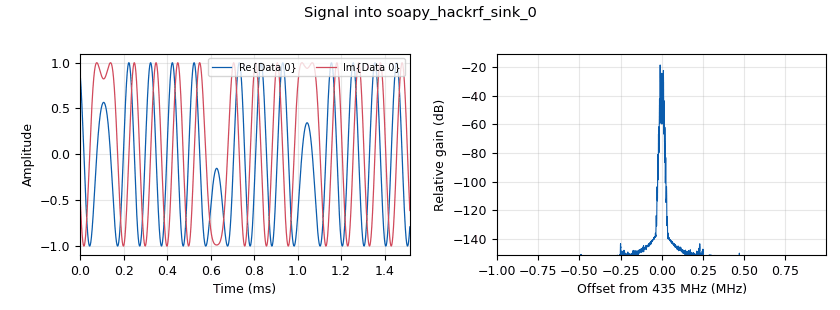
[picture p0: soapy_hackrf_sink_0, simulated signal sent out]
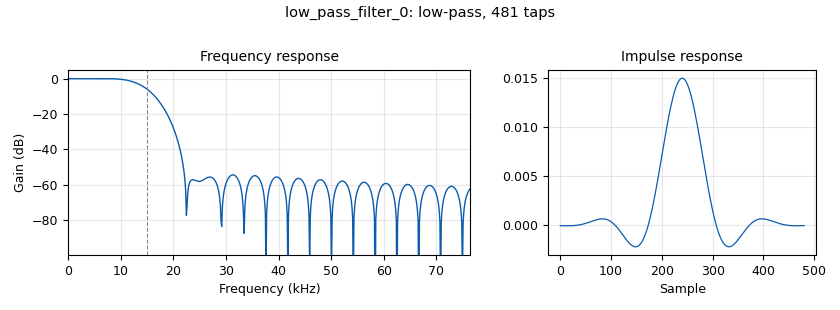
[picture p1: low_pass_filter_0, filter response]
options:
  parameters:
    author: Swarnava Ghosh
    generate_options: qt_gui
    id: GFSK_Heron_Packet_tx_rx
    output_language: python
    title: GFSK Heron Packet TX/RX
  states: {}

blocks:
- name: freq
  id: variable
  parameters:
    value: 435e6
  states: {}
- name: freq_offset
  id: variable
  parameters:
    value: 300e3
  states: {}
- name: samp_rate
  id: variable
  parameters:
    value: 2e6
  states: {}
- name: UTAT_HERON_heron_rx_bb_0
  id: UTAT_HERON_heron_rx_bb
  parameters: {}
  states: {}
- name: analog_sig_source_x_1
  id: analog_sig_source_x
  parameters:
    amp: '1'
    freq: freq_offset
    offset: '0'
    phase: '0'
    samp_rate: samp_rate
    type: complex
    waveform: analog.GR_COS_WAVE
  states: {}
- name: blocks_multiply_xx_0
  id: blocks_multiply_xx
  parameters:
    type: complex
  states: {}
- name: blocks_uchar_to_float_0
  id: blocks_uchar_to_float
  parameters: {}
  states: {}
- name: blocks_vector_source_x_0
  id: blocks_vector_source_x
  parameters:
    repeat: 'True'
    type: byte
    vector: (0xAA, 0XAA, 0xAA, 0xAA, 0xAA, 0x7E, 0x01, 0x01, 0x3E, 0x1F)
  states: {}
- name: digital_gfsk_demod_0
  id: digital_gfsk_demod
  parameters:
    freq_error: '0.0'
    gain_mu: '0.175'
    mu: '0.5'
    omega_relative_limit: '0.005'
    samples_per_symbol: '208'
    sensitivity: '0.03141592654'
  states: {}
- name: digital_gfsk_mod_0
  id: digital_gfsk_mod
  parameters:
    bt: '0.35'
    samples_per_symbol: '208'
    sensitivity: '0.03141592654'
  states: {}
- name: low_pass_filter_0
  id: low_pass_filter
  parameters:
    cutoff_freq: 15e3
    decim: '1'
    gain: '1'
    samp_rate: samp_rate
    type: fir_filter_ccf
    width: 10e3
    win: window.WIN_HAMMING
  states: {}
- name: qtgui_time_sink_x_0
  id: qtgui_time_sink_x
  parameters:
    ctrlpanel: 'True'
    size: '1024'
    srate: samp_rate
    type: float
    ymax: '20'
  states: {}
- name: soapy_hackrf_sink_0
  id: soapy_hackrf_sink
  parameters:
    center_freq: freq
    dev_args: '"driver=hackrf,serial=29e5f"'
    samp_rate: samp_rate
    type: fc32
  states: {}
- name: soapy_hackrf_source_0
  id: soapy_hackrf_source
  parameters:
    center_freq: freq + freq_offset
    dev_args: '"driver=hackrf,serial=f915f"'
    samp_rate: samp_rate
    type: fc32
  states: {}

connections:
- [UTAT_HERON_heron_rx_bb_0, '0', blocks_uchar_to_float_0, '0']
- [analog_sig_source_x_1, '0', blocks_multiply_xx_0, '1']
- [blocks_multiply_xx_0, '0', low_pass_filter_0, '0']
- [blocks_uchar_to_float_0, '0', qtgui_time_sink_x_0, '0']
- [blocks_vector_source_x_0, '0', digital_gfsk_mod_0, '0']
- [digital_gfsk_demod_0, '0', UTAT_HERON_heron_rx_bb_0, '0']
- [digital_gfsk_mod_0, '0', soapy_hackrf_sink_0, '0']
- [low_pass_filter_0, '0', digital_gfsk_demod_0, '0']
- [soapy_hackrf_source_0, '0', blocks_multiply_xx_0, '0']

metadata:
  file_format: 1
  grc_version: 3.10.5.1
